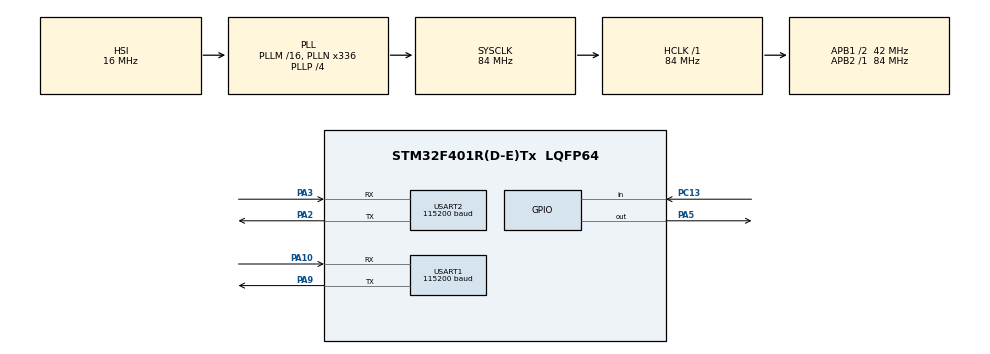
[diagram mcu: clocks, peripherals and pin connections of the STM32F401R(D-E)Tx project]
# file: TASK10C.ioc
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Mcu.Family=STM32F4
Mcu.Name=STM32F401R(D-E)Tx
Mcu.Package=LQFP64
NVIC.USART1_IRQn=true:1:0:false:false:true:true:true:true
NVIC.USART2_IRQn=true:2:0:false:false:true:true:true:true
PA2.Mode=Asynchronous
PA2.Signal=USART2_TX
PA3.Mode=Asynchronous
PA3.Signal=USART2_RX
PA5.Signal=GPIO_Output
PA9.Mode=Asynchronous
PA9.Signal=USART1_TX
PA10.Mode=Asynchronous
PA10.Signal=USART1_RX
PC13.Signal=GPIO_Input
PC13.GPIO_PuPd=GPIO_PULLUP
ProjectManager.TargetToolchain=MDK-ARM V5.32
RCC.AHBFreq_Value=84000000
RCC.APB1Freq_Value=42000000
RCC.APB2Freq_Value=84000000
RCC.CortexFreq_Value=84000000
RCC.HCLKFreq_Value=84000000
RCC.SYSCLKFreq_VALUE=84000000
RCC.SYSCLKSource=RCC_SYSCLKSOURCE_PLLCLK
USART1.BaudRate=115200
USART2.BaudRate=115200
board=custom

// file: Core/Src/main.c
/* USER CODE BEGIN Header */
/**
  ******************************************************************************
  * @file           : main.c
  * @brief          : CAT 10 - TASK 10C: Multi-Step IoT Provisioning Engine
  * Target Device   : STM32F401RET6 (NUCLEO-F401RE, ARM Cortex-M4 @ 84 MHz)
  * Pin Map         : PA2  -> USART2 TX (PC ST-LINK @ 115200)
  *                   PA3  -> USART2 RX (PC ST-LINK @ 115200)
  *                   PA9  -> USART1 TX (Wemos ESP8266 RX @ 115200)
  *                   PA10 -> USART1 RX (Wemos ESP8266 TX @ 115200)
  ******************************************************************************
  */
/* USER CODE END Header */
#include "main.h"

/* USER CODE BEGIN Includes */
#include <string.h>
#include <stdbool.h>
/* USER CODE END Includes */

/* USER CODE BEGIN PTD */
typedef enum {
  IOT_STATE_INIT = 0,
  IOT_STATE_TEST_AT,
  IOT_STATE_SET_MODE,
  IOT_STATE_JOIN_WIFI,
  IOT_STATE_GET_IP,
  IOT_STATE_READY
} IoT_State_t;
/* USER CODE END PTD */

UART_HandleTypeDef huart1;
UART_HandleTypeDef huart2;

/* USER CODE BEGIN PV */
IoT_State_t iot_state = IOT_STATE_INIT;
uint32_t state_tick = 0;
uint8_t esp_byte = 0;
uint8_t pc_byte = 0;
/* USER CODE END PV */

void SystemClock_Config(void);
static void MX_GPIO_Init(void);
static void MX_USART1_UART_Init(void);
static void MX_USART2_UART_Init(void);

int main(void)
{
  /* USER CODE BEGIN 1 */
  char *banner = "\r\n===============================================\r\n"
                 " STM32F401RE ESP8266 IoT Provisioning Engine\r\n"
                 "===============================================\r\n";
  uint32_t now = 0;
  char cmd_at[] = "AT\r\n";
  char cmd_mode[] = "AT+CWMODE=1\r\n";
  char cmd_join[] = "AT+CWJAP=\"YOUR_WIFI_SSID\",\"YOUR_WIFI_PASSWORD\"\r\n";
  char cmd_ip[] = "AT+CIFSR\r\n";
  char log_at[] = "[IOT] Sending AT Ping...\r\n";
  char log_mode[] = "[IOT] Setting Wi-Fi Station Mode (AT+CWMODE=1)...\r\n";
  char log_join[] = "[IOT] Connecting to Wi-Fi SSID 'YOUR_WIFI_SSID'...\r\n";
  char log_ip[] = "[IOT] Querying Allocated Station IP (AT+CIFSR)...\r\n";
  char log_ready[] = "[IOT] Device Provisioned! Entering Passthrough Mode.\r\n> ";
  /* USER CODE END 1 */

  /* MCU Configuration--------------------------------------------------------*/

  /* Reset of all peripherals, Initializes the Flash interface and the Systick. */
  HAL_Init();

  /* Configure the system clock */
  SystemClock_Config();

  /* Initialize all configured peripherals */
  MX_GPIO_Init();
  MX_USART1_UART_Init();
  MX_USART2_UART_Init();
  /* USER CODE BEGIN 2 */
  HAL_UART_Transmit(&huart2, (uint8_t *)banner, strlen(banner), HAL_MAX_DELAY);
  state_tick = HAL_GetTick();
  /* USER CODE END 2 */

  /* Infinite loop */
  /* USER CODE BEGIN WHILE */
  while (1)
  {
    now = HAL_GetTick();

    switch (iot_state)
    {
      case IOT_STATE_INIT:
        if (now - state_tick > 1000)
        {
          HAL_UART_Transmit(&huart2, (uint8_t *)log_at, strlen(log_at), 100);
          HAL_UART_Transmit(&huart1, (uint8_t *)cmd_at, strlen(cmd_at), 100);
          iot_state = IOT_STATE_TEST_AT;
          state_tick = now;
        }
        break;

      case IOT_STATE_TEST_AT:
        if (now - state_tick > 1000)
        {
          HAL_UART_Transmit(&huart2, (uint8_t *)log_mode, strlen(log_mode), 100);
          HAL_UART_Transmit(&huart1, (uint8_t *)cmd_mode, strlen(cmd_mode), 100);
          iot_state = IOT_STATE_SET_MODE;
          state_tick = now;
        }
        break;

      case IOT_STATE_SET_MODE:
        if (now - state_tick > 1000)
        {
          HAL_UART_Transmit(&huart2, (uint8_t *)log_join, strlen(log_join), 100);
          HAL_UART_Transmit(&huart1, (uint8_t *)cmd_join, strlen(cmd_join), 100);
          iot_state = IOT_STATE_JOIN_WIFI;
          state_tick = now;
        }
        break;

      case IOT_STATE_JOIN_WIFI:
        if (now - state_tick > 5000)
        {
          HAL_UART_Transmit(&huart2, (uint8_t *)log_ip, strlen(log_ip), 100);
          HAL_UART_Transmit(&huart1, (uint8_t *)cmd_ip, strlen(cmd_ip), 100);
          iot_state = IOT_STATE_GET_IP;
          state_tick = now;
        }
        break;

      case IOT_STATE_GET_IP:
        if (now - state_tick > 2000)
        {
          HAL_UART_Transmit(&huart2, (uint8_t *)log_ready, strlen(log_ready), 100);
          iot_state = IOT_STATE_READY;
          state_tick = now;
        }
        break;

      case IOT_STATE_READY:
        /* Transparent forward between ESP8266 and PC */
        if (HAL_UART_Receive(&huart1, &esp_byte, 1, 2) == HAL_OK)
        {
          HAL_UART_Transmit(&huart2, &esp_byte, 1, 2);
        }
        if (HAL_UART_Receive(&huart2, &pc_byte, 1, 2) == HAL_OK)
        {
          HAL_UART_Transmit(&huart1, &pc_byte, 1, 2);
        }
        break;
    }
    /* USER CODE END WHILE */

  }
}

void SystemClock_Config(void)
{
  RCC_OscInitTypeDef RCC_OscInitStruct = {0};
  RCC_ClkInitTypeDef RCC_ClkInitStruct = {0};

  __HAL_RCC_PWR_CLK_ENABLE();
  __HAL_PWR_VOLTAGESCALING_CONFIG(PWR_REGULATOR_VOLTAGE_SCALE2);

  RCC_OscInitStruct.OscillatorType = RCC_OSCILLATORTYPE_HSI;
  RCC_OscInitStruct.HSIState = RCC_HSI_ON;
  RCC_OscInitStruct.HSICalibrationValue = RCC_HSICALIBRATION_DEFAULT;
  RCC_OscInitStruct.PLL.PLLState = RCC_PLL_ON;
  RCC_OscInitStruct.PLL.PLLSource = RCC_PLLSOURCE_HSI;
  RCC_OscInitStruct.PLL.PLLM = 16;
  RCC_OscInitStruct.PLL.PLLN = 336;
  RCC_OscInitStruct.PLL.PLLP = RCC_PLLP_DIV4;
  RCC_OscInitStruct.PLL.PLLQ = 7;
  if (HAL_RCC_OscConfig(&RCC_OscInitStruct) != HAL_OK)
  {
    Error_Handler();
  }

  RCC_ClkInitStruct.ClockType = RCC_CLOCKTYPE_HCLK|RCC_CLOCKTYPE_SYSCLK
                              |RCC_CLOCKTYPE_PCLK1|RCC_CLOCKTYPE_PCLK2;
  RCC_ClkInitStruct.SYSCLKSource = RCC_SYSCLKSOURCE_PLLCLK;
  RCC_ClkInitStruct.AHBCLKDivider = RCC_SYSCLK_DIV1;
  RCC_ClkInitStruct.APB1CLKDivider = RCC_HCLK_DIV2;
  RCC_ClkInitStruct.APB2CLKDivider = RCC_HCLK_DIV1;

  if (HAL_RCC_ClockConfig(&RCC_ClkInitStruct, FLASH_LATENCY_2) != HAL_OK)
  {
    Error_Handler();
  }
}

static void MX_USART1_UART_Init(void)
{
  huart1.Instance = USART1;
  huart1.Init.BaudRate = 115200;
  huart1.Init.WordLength = UART_WORDLENGTH_8B;
  huart1.Init.StopBits = UART_STOPBITS_1;
  huart1.Init.Parity = UART_PARITY_NONE;
  huart1.Init.Mode = UART_MODE_TX_RX;
  huart1.Init.HwFlowCtl = UART_HWCONTROL_NONE;
  huart1.Init.OverSampling = UART_OVERSAMPLING_16;
  if (HAL_UART_Init(&huart1) != HAL_OK)
  {
    Error_Handler();
  }
}

static void MX_USART2_UART_Init(void)
{
  huart2.Instance = USART2;
  huart2.Init.BaudRate = 115200;
  huart2.Init.WordLength = UART_WORDLENGTH_8B;
  huart2.Init.StopBits = UART_STOPBITS_1;
  huart2.Init.Parity = UART_PARITY_NONE;
  huart2.Init.Mode = UART_MODE_TX_RX;
  huart2.Init.HwFlowCtl = UART_HWCONTROL_NONE;
  huart2.Init.OverSampling = UART_OVERSAMPLING_16;
  if (HAL_UART_Init(&huart2) != HAL_OK)
  {
    Error_Handler();
  }
}

static void MX_GPIO_Init(void)
{
  GPIO_InitTypeDef GPIO_InitStruct = {0};

  /* GPIO Ports Clock Enable */
  __HAL_RCC_GPIOC_CLK_ENABLE();
  __HAL_RCC_GPIOH_CLK_ENABLE();
  __HAL_RCC_GPIOA_CLK_ENABLE();

  /* Configure GPIO pin Output Level */
  HAL_GPIO_WritePin(GPIOA, GPIO_PIN_5, GPIO_PIN_RESET);

  /* Configure GPIO pin : PA5 (LD2 Green LED) */
  GPIO_InitStruct.Pin = GPIO_PIN_5;
  GPIO_InitStruct.Mode = GPIO_MODE_OUTPUT_PP;
  GPIO_InitStruct.Pull = GPIO_NOPULL;
  GPIO_InitStruct.Speed = GPIO_SPEED_FREQ_LOW;
  HAL_GPIO_Init(GPIOA, &GPIO_InitStruct);
}

void Error_Handler(void)
{
  __disable_irq();
  while (1)
  {
  }
}
